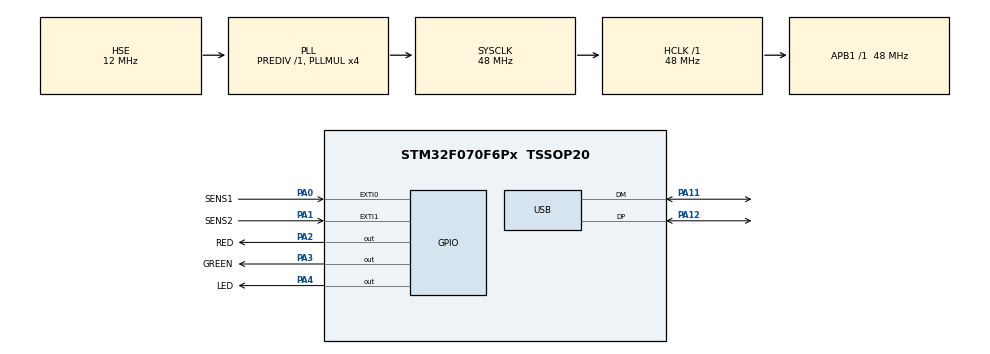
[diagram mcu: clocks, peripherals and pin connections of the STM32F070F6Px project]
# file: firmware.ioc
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Mcu.Family=STM32F0
Mcu.Name=STM32F070F6Px
Mcu.Package=TSSOP20
NVIC.EXTI0_1_IRQn=true\:0\:0\:false\:false\:true\:true\:true\:true
NVIC.USB_IRQn=true\:0\:0\:false\:false\:true\:false\:true\:true
PA0.GPIO_Label=SENS1
PA0.GPIO_ModeDefaultEXTI=GPIO_MODE_IT_FALLING
PA0.Signal=GPXTI0
PA1.GPIO_Label=SENS2
PA1.GPIO_ModeDefaultEXTI=GPIO_MODE_IT_FALLING
PA1.Signal=GPXTI1
PA11.Mode=Device
PA11.Signal=USB_DM
PA12.Mode=Device
PA12.Signal=USB_DP
PA13.Mode=Serial_Wire
PA13.Signal=SYS_SWDIO
PA14.Mode=Serial_Wire
PA14.Signal=SYS_SWCLK
PA2.GPIO_Label=RED
PA2.Signal=GPIO_Output
PA3.GPIO_Label=GREEN
PA3.Signal=GPIO_Output
PA4.GPIO_Label=LED
PA4.GPIO_ModeDefaultOutputPP=GPIO_MODE_OUTPUT_PP
PA4.GPIO_PuPd=GPIO_NOPULL
PA4.Signal=GPIO_Output
PF0-OSC_IN.Mode=HSE-External-Oscillator
PF0-OSC_IN.Signal=RCC_OSC_IN
PF1-OSC_OUT.Mode=HSE-External-Oscillator
PF1-OSC_OUT.Signal=RCC_OSC_OUT
ProjectManager.HeapSize=0x80
ProjectManager.StackSize=0x200
ProjectManager.TargetToolchain=Makefile
RCC.AHBFreq_Value=48000000
RCC.APB1Freq_Value=48000000
RCC.APB1TimFreq_Value=48000000
RCC.HCLKFreq_Value=48000000
RCC.HSE_VALUE=12000000
RCC.PLLMUL=RCC_PLL_MUL4
RCC.SYSCLKFreq_VALUE=48000000
RCC.SYSCLKSource=RCC_SYSCLKSOURCE_PLLCLK
USB_DEVICE.CLASS_NAME_FS=CDC
USB_DEVICE.MANUFACTURER_STRING=LUFT-AQUILA
USB_DEVICE.PID_CDC_FS=0x0514
USB_DEVICE.PRODUCT_STRING_CDC_FS=FSK-TC
USB_DEVICE.VID=0x1999
USB_DEVICE.VirtualMode=Cdc
USB_DEVICE.VirtualModeFS=Cdc_FS
VP_SYS_VS_PINREMAP.Mode=PINREMAP
VP_USB_DEVICE_VS_USB_DEVICE_CDC_FS.Mode=CDC_FS
board=custom

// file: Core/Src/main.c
/* USER CODE BEGIN Header */
/**
  ******************************************************************************
  * @file           : main.c
  * @brief          : Main program body
  ******************************************************************************
  * @attention
  *
  * Copyright (c) 2025 STMicroelectronics.
  * All rights reserved.
  *
  * This software is licensed under terms that can be found in the LICENSE file
  * in the root directory of this software component.
  * If no LICENSE file comes with this software, it is provided AS-IS.
  *
  ******************************************************************************
  */
/* USER CODE END Header */
#include "main.h"
#include "usb_device.h"
#include "gpio.h"

/* USER CODE BEGIN Includes */
#include "usbd_cdc_if.h"
/* USER CODE END Includes */

/* USER CODE BEGIN PV */
/* USB buffer and flag */
volatile uint32_t usb_rcv_flag = false;
extern uint8_t UserRxBufferFS[];
extern uint8_t UserTxBufferFS[];

volatile uint32_t sensor_flag = false;
uint32_t sensor_tick[2];

const char usb_cmd[][3] = {
  "$H", // HELLO
  "$G", // GREEN
  "$R", // RED
  "$X", // OFF
  "$R", // RESET
};
/* USER CODE END PV */

void SystemClock_Config(void);

/* USER CODE BEGIN 0 */
void HAL_GPIO_EXTI_Callback(uint16_t GPIO_Pin) {
  uint32_t tick = HAL_GetTick();

  switch (GPIO_Pin) {
    case SENS1_Pin:
      if (tick - sensor_tick[0] > 200) {
        sensor_flag |= 1 << 0;
        sensor_tick[0] = tick;
      }
      break;
    case SENS2_Pin:
      if (tick - sensor_tick[1] > 200) {
        sensor_flag |= 1 << 1;
        sensor_tick[1] = HAL_GetTick();
      }
      break;
    default:
      break;
  }
}
/* USER CODE END 0 */

int main(void)
{

  /* MCU Configuration--------------------------------------------------------*/

  /* Reset of all peripherals, Initializes the Flash interface and the Systick. */
  HAL_Init();

  /* Configure the system clock */
  SystemClock_Config();

  /* Initialize all configured peripherals */
  MX_GPIO_Init();
  MX_USB_DEVICE_Init();
  /* USER CODE BEGIN 2 */
  // flash traffic light 3 times
  for (int i = 0; i < 6; i++) {
    // on at even, off at odd
    RED(!(i & 0b01));
    GREEN(!(i & 0b01));
    HAL_GPIO_TogglePin(LED_GPIO_Port, LED_Pin);
    HAL_Delay(200);
  }

  HAL_GPIO_WritePin(LED_GPIO_Port, LED_Pin, GPIO_PIN_SET);
  /* USER CODE END 2 */

  /* Infinite loop */
  /* USER CODE BEGIN WHILE */
  while (true) {
    if (sensor_flag) {
      if (sensor_flag & (1 << 0)) {
        sprintf((char *)UserTxBufferFS, "$S 1 %lu!\n", sensor_tick[0]);
        USB_Transmit(UserTxBufferFS);
        sensor_flag &= ~(1 << 0);
      }

      if (sensor_flag & (1 << 1)) {
        sprintf((char *)UserTxBufferFS, "$S 2 %lu!\n", sensor_tick[1]);
        USB_Transmit(UserTxBufferFS);
        sensor_flag &= ~(1 << 1);
      }
    }

    if (usb_rcv_flag) {
      if (USB_Command(CMD_GREEN)) {
        GREEN(true);
        RED(false);
        sprintf((char *)UserTxBufferFS, "$OK G %lu!\n", HAL_GetTick());
        USB_Transmit(UserTxBufferFS);
      } else if (USB_Command(CMD_RED)) {
        GREEN(false);
        RED(true);
        USB_Transmit("$OK R!\n");
      } else if (USB_Command(CMD_OFF)) {
        GREEN(false);
        RED(false);
        USB_Transmit("$OK X!\n");
      } else if (USB_Command(CMD_RESET)) {
        HAL_NVIC_SystemReset();
      } else if (USB_Command(CMD_HELLO)) {
        USB_Transmit("$HI!\n");
      } else {
        USB_Transmit("$E!\n");
      }

      usb_rcv_flag = false;
      HAL_GPIO_WritePin(LED_GPIO_Port, LED_Pin, GPIO_PIN_SET);
    }
    /* USER CODE END WHILE */

  }
}

void SystemClock_Config(void)
{
  RCC_OscInitTypeDef RCC_OscInitStruct = {0};
  RCC_ClkInitTypeDef RCC_ClkInitStruct = {0};
  RCC_PeriphCLKInitTypeDef PeriphClkInit = {0};

  /** Initializes the RCC Oscillators according to the specified parameters
  * in the RCC_OscInitTypeDef structure.
  */
  RCC_OscInitStruct.OscillatorType = RCC_OSCILLATORTYPE_HSE;
  RCC_OscInitStruct.HSEState = RCC_HSE_ON;
  RCC_OscInitStruct.PLL.PLLState = RCC_PLL_ON;
  RCC_OscInitStruct.PLL.PLLSource = RCC_PLLSOURCE_HSE;
  RCC_OscInitStruct.PLL.PLLMUL = RCC_PLL_MUL4;
  RCC_OscInitStruct.PLL.PREDIV = RCC_PREDIV_DIV1;
  if (HAL_RCC_OscConfig(&RCC_OscInitStruct) != HAL_OK)
  {
    Error_Handler();
  }

  /** Initializes the CPU, AHB and APB buses clocks
  */
  RCC_ClkInitStruct.ClockType = RCC_CLOCKTYPE_HCLK|RCC_CLOCKTYPE_SYSCLK
                              |RCC_CLOCKTYPE_PCLK1;
  RCC_ClkInitStruct.SYSCLKSource = RCC_SYSCLKSOURCE_PLLCLK;
  RCC_ClkInitStruct.AHBCLKDivider = RCC_SYSCLK_DIV1;
  RCC_ClkInitStruct.APB1CLKDivider = RCC_HCLK_DIV1;

  if (HAL_RCC_ClockConfig(&RCC_ClkInitStruct, FLASH_LATENCY_1) != HAL_OK)
  {
    Error_Handler();
  }
  PeriphClkInit.PeriphClockSelection = RCC_PERIPHCLK_USB;
  PeriphClkInit.UsbClockSelection = RCC_USBCLKSOURCE_PLL;

  if (HAL_RCCEx_PeriphCLKConfig(&PeriphClkInit) != HAL_OK)
  {
    Error_Handler();
  }
}

void Error_Handler(void)
{
  /* USER CODE BEGIN Error_Handler_Debug */
  DEBUG_MSG("\nERROR!\n");

  while (1) {
    HAL_GPIO_TogglePin(LED_GPIO_Port, LED_Pin);
    HAL_Delay(100);
  }
  /* USER CODE END Error_Handler_Debug */
}
